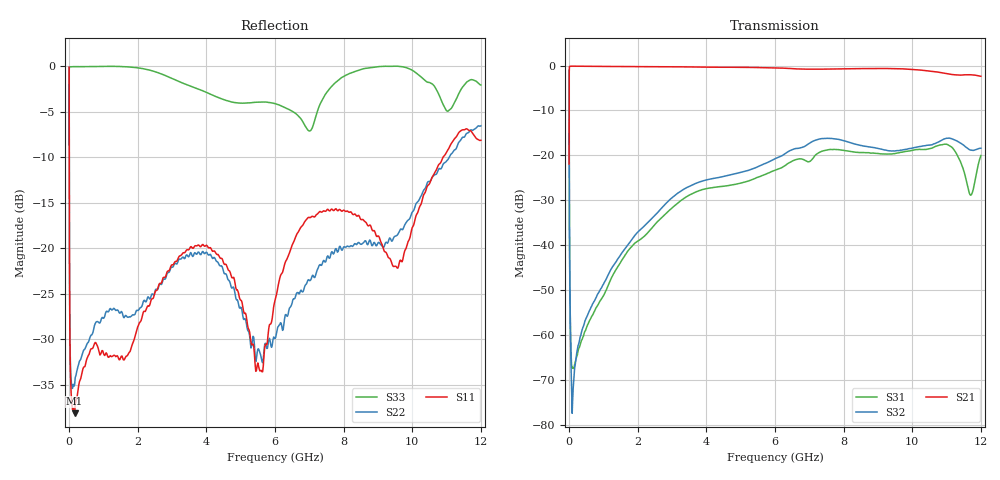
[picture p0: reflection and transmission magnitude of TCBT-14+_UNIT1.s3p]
!Mini-Circuits Laboratory
!S-Parameters
!Model:TCBT-14+
!Run/Lot/Date Code:MHU6270/NA/NA
!Fixture/SN/Due:90-4-20-188/73355/01-16-11
!Connection:PORT<1> - pin<2>, PORT<2> - pin<1>, PORT<3> - pin<3>;
!Unit S/N 1
!Agilent Technologies,N5230A,MY45001447,A.07.50.63
!Agilent N5230A: A.07.50.63
!Date: Friday, November 26, 2010 16:43:24
!Correction: S11(Full 3 Port(1,2,3))
!S12(Full 3 Port(1,2,3))
!S13(Full 3 Port(1,2,3))
!S21(Full 3 Port(1,2,3))
!S22(Full 3 Port(1,2,3))
!S23(Full 3 Port(1,2,3))
!S31(Full 3 Port(1,2,3))
!S32(Full 3 Port(1,2,3))
!S33(Full 3 Port(1,2,3))
!S3P File: Measurements: <S11,S12,S13>,
!<S21,S22,S23>,
!<S31,S32,S33>:
# Hz S  dB  R 50
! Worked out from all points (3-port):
!   621 points, 300 kHz to 12 GHz, reference 50 ohm
!   strongest paths, dB at 300 kHz, 2.7 GHz, 5.8 GHz, 8.9 GHz, 12 GHz:
!     S21: -21.9, -0.3, -0.5, -0.7, -2.4
!     S32: -1.0, -31.7, -21.5, -18.3, -18.4
!     S31: -21.6, -33.8, -24.0, -19.5, -20.0
!   lowest |S11| = -38.1 dB at 160 MHz (marker M1), VSWR 1.03, Z = 50 + j1.24 ohm
!   |S11| at or under -10 dB: 5 MHz to 10.9 GHz (10.89 GHz wide, 200 % of centre)
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300000  -0.10 -10.7  -21.98 62.9  -21.57 57.3
        -21.93 62.6  -8.60 -121.4  -0.95 -28.2
        -21.59 57.1  -0.98 -27.9  -8.10 -114.8
5000000  -10.00 -153.0  -0.80 47.7  -24.12 -120.9
         -0.80 47.7  -10.63 77.1  -22.60 -153.9
         -24.11 -121.0  -22.59 -153.9  -0.15 -171.4
1e7  -20.34 167.7  -0.25 22.2  -35.86 -146.4
     -0.24 22.3  -20.57 64.7  -35.39 -164.7
     -35.79 -146.1  -35.41 -164.7  -0.08 -176.1
5e7  -35.08 114.2  -0.16 4.1  -62.46 -134.0
     -0.15 4.1  -33.92 70.1  -64.33 -161.9
     -62.25 -135.2  -64.53 -162.9  -0.05 179.1
1.6e8  -38.12 87.0  -0.15 0.3  -66.71 -91.1
       -0.14 0.3  -34.98 51.1  -67.61 84.1
       -66.55 -90.0  -67.51 85.3  -0.04 174.8
2.3e9  -26.30 -150.5  -0.25 -12.4  -37.15 143.6
       -0.25 -12.3  -25.31 -44.1  -34.93 82.7
       -37.16 143.8  -34.91 82.9  -0.38 90.8
3.3e9  -20.59 -111.4  -0.29 -17.7  -29.84 93.3
       -0.29 -17.7  -20.98 -100.0  -27.75 47.1
       -29.83 93.3  -27.74 47.0  -1.83 13.7
6.02e9  -25.42 167.8  -0.51 -32.8  -23.22 -14.0
        -0.53 -32.8  -29.78 -55.1  -20.68 -40.5
        -23.23 -13.8  -20.68 -40.3  -4.13 -47.7
9.68e9  -21.42 -51.9  -0.74 -55.4  -19.28 -162.1
        -0.73 -55.4  -17.88 121.1  -18.77 177.0
        -19.32 -162.6  -18.84 176.5  -0.03 -73.2
1.2e10  -8.12 44.8  -2.41 -70.0  -20.06 153.4
        -2.39 -70.3  -6.54 7.1  -18.51 96.0
        -20.04 154.0  -18.42 96.7  -2.06 -31.7
